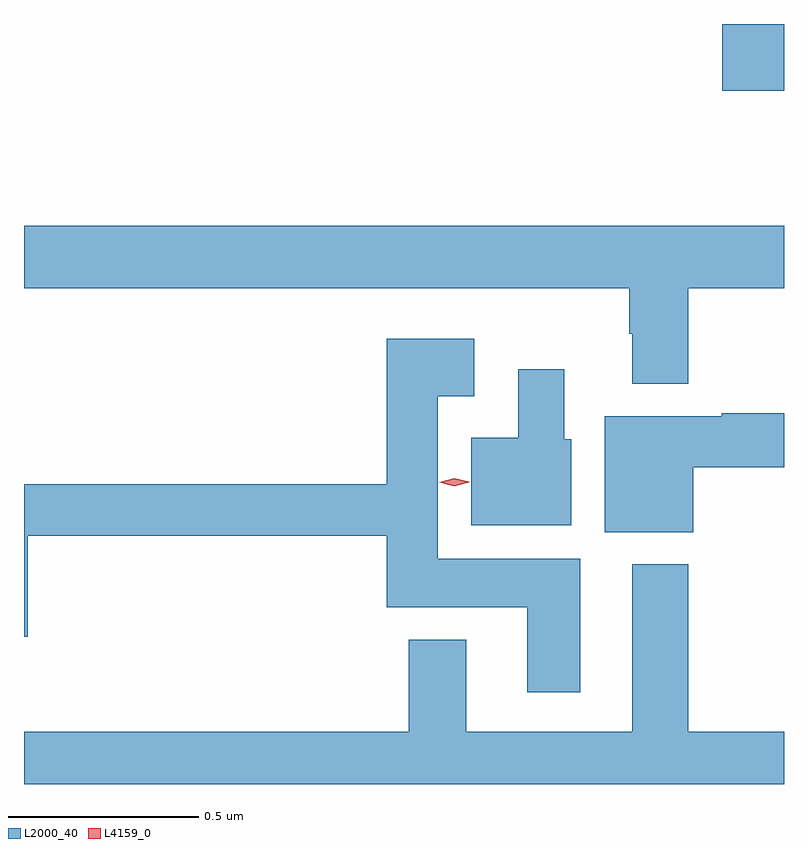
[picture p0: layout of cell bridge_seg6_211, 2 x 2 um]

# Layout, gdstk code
import gdstk
lib = gdstk.Library(unit=1e-6, precision=1e-09)
def R(c, l, rs):  # rectangles x0, y0, x1, y1
    for r in rs: c.add(gdstk.rectangle(r[:2], r[2:], *l))
def P(c, l, *ps):  # polygons
    for p in ps: c.add(gdstk.Polygon(p, *l))
L2000_40 = (2000, 40)
L4159_0 = (4159, 0)

bridge_seg6_211 = lib.new_cell('bridge_seg6_211')
R(bridge_seg6_211, L2000_40, [(140.702,955.847,140.865,956.023)])
P(bridge_seg6_211, L2000_40, [(140.613,955.328),(140.865,955.328),(140.865,955.492),(138.865,955.492),(138.865,955.328),(140.458,955.328),(140.458,955.208),(140.465,955.208),(140.465,955.076),(140.613,955.076)],
  [(140.329,954.616),(139.954,954.616),(139.954,955.043),(140.05,955.043),(140.05,955.195),(139.82,955.195),(139.82,954.812),(138.865,954.812),(138.865,954.411),(138.875,954.411),(138.875,954.676),(139.82,954.676),(139.82,954.488),(140.189,954.488),(140.189,954.264),(140.329,954.264)],
  [(140.305,954.93),(140.287,954.93),(140.287,955.114),(140.165,955.114),(140.165,954.934),(140.042,954.934),(140.042,954.704),(140.305,954.704)],
  [(140.626,954.857),(140.865,954.857),(140.865,954.999),(140.701,954.999),(140.701,954.991),(140.393,954.991),(140.393,954.686),(140.626,954.686)],
  [(140.865,954.16),(140.613,954.16),(140.613,954.601),(140.465,954.601),(140.465,954.16),(140.029,954.16),(140.029,954.403),(139.877,954.403),(139.877,954.16),(138.865,954.16),(138.865,954.023),(140.865,954.023)])
P(bridge_seg6_211, L4159_0, [(139.997,954.807),(139.958,954.817),(139.957,954.817),(139.958,954.817),(139.997,954.827),(140.037,954.818),(140.037,954.818),(140.037,954.817)])

lib.write_gds('bridge_seg6_211.gds')
